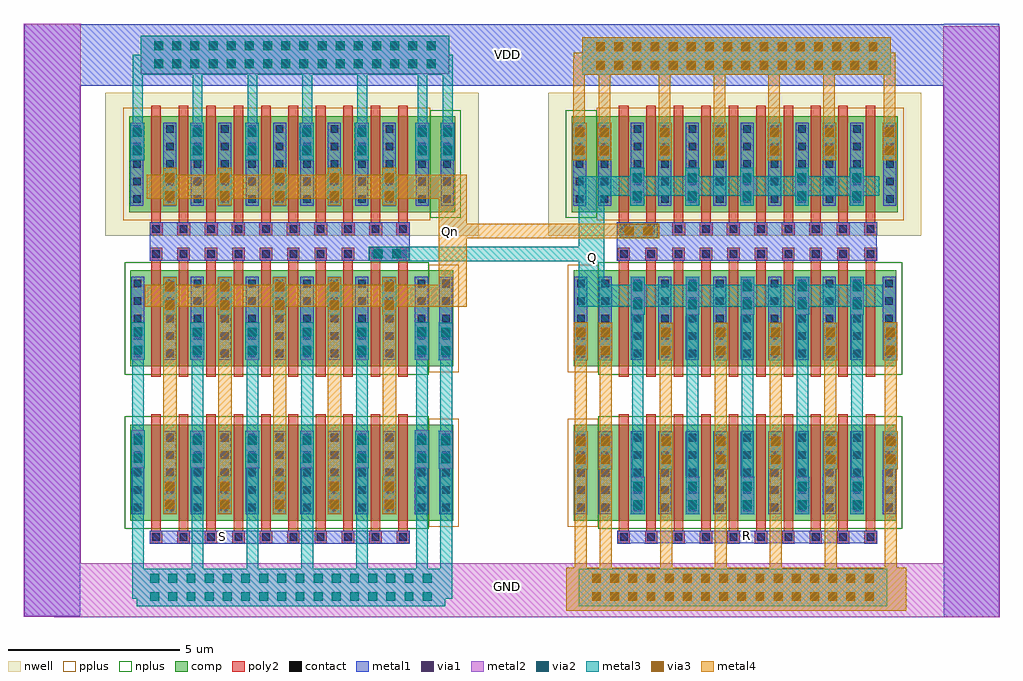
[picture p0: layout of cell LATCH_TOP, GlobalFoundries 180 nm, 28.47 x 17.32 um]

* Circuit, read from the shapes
.subckt LATCH_TOP GND Q Qn R S VDD
XM1 Qn S GND GND nfet_03v3 w=2.8u l=0.28u m=10
XM2 Qn Q GND GND nfet_03v3 w=2.8u l=0.28u m=10
XM3 Q R GND GND nfet_03v3 w=2.8u l=0.28u m=10
XM4 Q Qn GND GND nfet_03v3 w=2.8u l=0.28u m=10
XM5 Qn Q VDD VDD pfet_03v3 w=2.8u l=0.28u m=10
XM6 Q Qn VDD VDD pfet_03v3 w=2.8u l=0.28u m=10
.ends

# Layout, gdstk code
import gdstk
lib = gdstk.Library(unit=1e-6, precision=5e-09)
def R(c, l, rs):  # rectangles x0, y0, x1, y1
    for r in rs: c.add(gdstk.rectangle(r[:2], r[2:], *l))
def A(c, l, x, y, w, h, nx, ny, dx, dy):  # array of equal rectangles
    R(c, l, [(x+i*dx, y+j*dy, x+i*dx+w, y+j*dy+h) for i in range(nx) for j in range(ny)])
nwell = (21, 0)
comp = (22, 0)
poly2 = (30, 0)
pplus = (31, 0)
nplus = (32, 0)
contact = (33, 0)
metal1 = (34, 0)
via1 = (35, 0)
metal2 = (36, 0)
via2 = (38, 0)
via3 = (40, 0)
metal3 = (42, 0)
metal4 = (46, 0)

latch_top = lib.new_cell('LATCH_TOP')
R(latch_top, nwell, [(-13.65,3.81,-2.76,7.99), (-0.74,3.81,10.15,7.99)])
A(latch_top, comp, 1.14, -4.5, 7.86, 2.8, 1, 3, 0, 4.5)
R(latch_top, comp, [(-12.92,-4.5,-12.5,-1.7), (-12.5,-4.5,-4.64,-1.7), (-4.64,-4.5,-4.22,-1.7), (-4.22,-4.5,-3.51,-1.7), (0.01,-4.5,0.72,-1.7), (0.72,-4.5,1.14,-1.7), (9,-4.5,9.42,-1.7), (-12.92,0,-12.5,2.8), (-12.92,0,-12.5,2.8), (-12.5,0,-4.64,2.8), (-12.5,0,-4.64,2.8), (-4.64,0,-4.22,2.8), (-4.64,0,-4.22,2.8), (-4.22,0,-3.51,2.8), (-4.22,0,-3.51,2.8), (0.01,0,0.72,2.8), (0.72,0,1.14,2.8), (9,0,9.42,2.8), (-12.96,4.5,-12.5,7.3), (-12.5,4.5,-4.64,7.3), (-4.64,4.5,-4.18,7.3), (-4.18,4.5,-3.45,7.3), (-0.05,4.5,0.68,7.3), (0.68,4.5,1.14,7.3), (9,4.5,9.46,7.3)])
A(latch_top, poly2, -12.35, -5.16, 0.36, 0.36, 10, 1, 0.8, 0)
A(latch_top, poly2, 1.29, -5.16, 0.36, 0.36, 10, 2, 0.8, 8.26)
A(latch_top, poly2, -12.31, -4.8, 0.28, 3.4, 10, 2, 0.8, 9)
A(latch_top, poly2, 1.33, -4.8, 0.28, 3.4, 10, 3, 0.8, 4.5)
A(latch_top, poly2, -12.36, 3.82, 0.38, 0.38, 10, 1, 0.8, 0)
A(latch_top, poly2, 1.28, 3.82, 0.38, 0.38, 10, 1, 0.8, 0)
R(latch_top, poly2, [(-12.31,-0.3,-12.03,3.1), (-12.31,-0.3,-12.03,3.1), (-11.51,-0.3,-11.23,3.1), (-11.51,-0.3,-11.23,3.1), (-10.71,-0.3,-10.43,3.1), (-10.71,-0.3,-10.43,3.1), (-9.91,-0.3,-9.63,3.1), (-9.91,-0.3,-9.63,3.1), (-9.11,-0.3,-8.83,3.1), (-9.11,-0.3,-8.83,3.1), (-8.31,-0.3,-8.03,3.1), (-8.31,-0.3,-8.03,3.1), (-7.51,-0.3,-7.23,3.1), (-7.51,-0.3,-7.23,3.1), (-6.71,-0.3,-6.43,3.1), (-6.71,-0.3,-6.43,3.1), (-5.91,-0.3,-5.63,3.1), (-5.91,-0.3,-5.63,3.1), (-5.11,-0.3,-4.83,3.1), (-5.11,-0.3,-4.83,3.1), (-12.35,3.1,-11.99,3.46), (-12.35,3.1,-11.99,3.46), (-11.55,3.1,-11.19,3.46), (-11.55,3.1,-11.19,3.46), (-10.75,3.1,-10.39,3.46), (-10.75,3.1,-10.39,3.46), (-9.95,3.1,-9.59,3.46), (-9.95,3.1,-9.59,3.46), (-9.15,3.1,-8.79,3.46), (-9.15,3.1,-8.79,3.46), (-8.35,3.1,-7.99,3.46), (-8.35,3.1,-7.99,3.46), (-7.55,3.1,-7.19,3.46), (-7.55,3.1,-7.19,3.46), (-6.75,3.1,-6.39,3.46), (-6.75,3.1,-6.39,3.46), (-5.95,3.1,-5.59,3.46), (-5.95,3.1,-5.59,3.46), (-5.15,3.1,-4.79,3.46), (-5.15,3.1,-4.79,3.46)])
R(latch_top, pplus, [(-4.22,-4.67,-3.34,-1.53), (-0.16,-4.67,0.72,-1.53), (-4.22,-0.17,-3.34,2.97), (-4.22,-0.17,-3.34,2.97), (-0.16,-0.17,0.72,2.97), (-13.13,4.26,-4.18,7.54), (0.68,4.26,9.63,7.54)])
R(latch_top, nplus, [(-13.09,-4.74,-4.22,-1.46), (0.72,-4.74,9.59,-1.46), (-13.09,-0.24,-4.22,3.04), (-13.09,-0.24,-4.22,3.04), (0.72,-0.24,9.59,3.04), (-4.18,4.33,-3.28,7.47), (-0.22,4.33,0.68,7.47)])
A(latch_top, contact, -12.28, -5.09, 0.22, 0.22, 10, 2, 0.8, 8.99)
A(latch_top, contact, 1.36, -5.09, 0.22, 0.22, 10, 2, 0.8, 8.26)
A(latch_top, contact, -12.82, -4.23, 0.22, 0.22, 1, 5, 0, 0.51)
A(latch_top, contact, -11.88, -4.23, 0.22, 0.22, 9, 5, 0.8, 0.51)
A(latch_top, contact, -4.54, -4.23, 0.22, 0.22, 1, 5, 0, 0.51)
A(latch_top, contact, -3.83, -4.23, 0.22, 0.22, 1, 5, 0, 0.51)
A(latch_top, contact, 0.11, -4.23, 0.22, 0.22, 1, 5, 0, 0.51)
A(latch_top, contact, 0.82, -4.23, 0.22, 0.22, 1, 5, 0, 0.51)
A(latch_top, contact, 1.76, -4.23, 0.22, 0.22, 9, 5, 0.8, 0.51)
A(latch_top, contact, 9.1, -4.23, 0.22, 0.22, 1, 5, 0, 0.51)
A(latch_top, contact, 0.11, 0.27, 0.22, 0.22, 1, 5, 0, 0.51)
A(latch_top, contact, 0.82, 0.27, 0.22, 0.22, 1, 5, 0, 0.51)
A(latch_top, contact, 1.76, 0.27, 0.22, 0.22, 9, 5, 0.8, 0.51)
A(latch_top, contact, 9.1, 0.27, 0.22, 0.22, 1, 5, 0, 0.51)
A(latch_top, contact, 1.36, 3.9, 0.22, 0.22, 10, 1, 0.8, 0)
A(latch_top, contact, -12.84, 4.77, 0.22, 0.22, 1, 5, 0, 0.51)
A(latch_top, contact, -11.88, 4.77, 0.22, 0.22, 9, 5, 0.8, 0.51)
A(latch_top, contact, -4.52, 4.77, 0.22, 0.22, 1, 5, 0, 0.51)
A(latch_top, contact, -3.79, 4.77, 0.22, 0.22, 1, 5, 0, 0.51)
A(latch_top, contact, 0.07, 4.77, 0.22, 0.22, 1, 5, 0, 0.51)
A(latch_top, contact, 0.8, 4.77, 0.22, 0.22, 1, 5, 0, 0.51)
A(latch_top, contact, 1.76, 4.77, 0.22, 0.22, 9, 5, 0.8, 0.51)
A(latch_top, contact, 9.12, 4.77, 0.22, 0.22, 1, 5, 0, 0.51)
R(latch_top, contact, [(-12.82,0.27,-12.6,0.49), (-12.82,0.27,-12.6,0.49), (-11.88,0.27,-11.66,0.49), (-11.88,0.27,-11.66,0.49), (-11.08,0.27,-10.86,0.49), (-11.08,0.27,-10.86,0.49), (-10.28,0.27,-10.06,0.49), (-10.28,0.27,-10.06,0.49), (-9.48,0.27,-9.26,0.49), (-9.48,0.27,-9.26,0.49), (-8.68,0.27,-8.46,0.49), (-8.68,0.27,-8.46,0.49), (-7.88,0.27,-7.66,0.49), (-7.88,0.27,-7.66,0.49), (-7.08,0.27,-6.86,0.49), (-7.08,0.27,-6.86,0.49), (-6.28,0.27,-6.06,0.49), (-6.28,0.27,-6.06,0.49), (-5.48,0.27,-5.26,0.49), (-5.48,0.27,-5.26,0.49), (-4.54,0.27,-4.32,0.49), (-4.54,0.27,-4.32,0.49), (-3.83,0.27,-3.61,0.49), (-3.83,0.27,-3.61,0.49), (-12.82,0.78,-12.6,1), (-12.82,0.78,-12.6,1), (-11.88,0.78,-11.66,1), (-11.88,0.78,-11.66,1), (-11.08,0.78,-10.86,1), (-11.08,0.78,-10.86,1), (-10.28,0.78,-10.06,1), (-10.28,0.78,-10.06,1), (-9.48,0.78,-9.26,1), (-9.48,0.78,-9.26,1), (-8.68,0.78,-8.46,1), (-8.68,0.78,-8.46,1), (-7.88,0.78,-7.66,1), (-7.88,0.78,-7.66,1), (-7.08,0.78,-6.86,1), (-7.08,0.78,-6.86,1), (-6.28,0.78,-6.06,1), (-6.28,0.78,-6.06,1), (-5.48,0.78,-5.26,1), (-5.48,0.78,-5.26,1), (-4.54,0.78,-4.32,1), (-4.54,0.78,-4.32,1), (-3.83,0.78,-3.61,1), (-3.83,0.78,-3.61,1), (-12.82,1.29,-12.6,1.51), (-12.82,1.29,-12.6,1.51), (-11.88,1.29,-11.66,1.51), (-11.88,1.29,-11.66,1.51), (-11.08,1.29,-10.86,1.51), (-11.08,1.29,-10.86,1.51), (-10.28,1.29,-10.06,1.51), (-10.28,1.29,-10.06,1.51), (-9.48,1.29,-9.26,1.51), (-9.48,1.29,-9.26,1.51), (-8.68,1.29,-8.46,1.51), (-8.68,1.29,-8.46,1.51), (-7.88,1.29,-7.66,1.51), (-7.88,1.29,-7.66,1.51), (-7.08,1.29,-6.86,1.51), (-7.08,1.29,-6.86,1.51), (-6.28,1.29,-6.06,1.51), (-6.28,1.29,-6.06,1.51), (-5.48,1.29,-5.26,1.51), (-5.48,1.29,-5.26,1.51), (-4.54,1.29,-4.32,1.51), (-4.54,1.29,-4.32,1.51), (-3.83,1.29,-3.61,1.51), (-3.83,1.29,-3.61,1.51), (-12.82,1.8,-12.6,2.02), (-12.82,1.8,-12.6,2.02), (-11.88,1.8,-11.66,2.02), (-11.88,1.8,-11.66,2.02), (-11.08,1.8,-10.86,2.02), (-11.08,1.8,-10.86,2.02), (-10.28,1.8,-10.06,2.02), (-10.28,1.8,-10.06,2.02), (-9.48,1.8,-9.26,2.02), (-9.48,1.8,-9.26,2.02), (-8.68,1.8,-8.46,2.02), (-8.68,1.8,-8.46,2.02), (-7.88,1.8,-7.66,2.02), (-7.88,1.8,-7.66,2.02), (-7.08,1.8,-6.86,2.02), (-7.08,1.8,-6.86,2.02), (-6.28,1.8,-6.06,2.02), (-6.28,1.8,-6.06,2.02), (-5.48,1.8,-5.26,2.02), (-5.48,1.8,-5.26,2.02), (-4.54,1.8,-4.32,2.02), (-4.54,1.8,-4.32,2.02), (-3.83,1.8,-3.61,2.02), (-3.83,1.8,-3.61,2.02), (-12.82,2.31,-12.6,2.53), (-12.82,2.31,-12.6,2.53), (-11.88,2.31,-11.66,2.53), (-11.88,2.31,-11.66,2.53), (-11.08,2.31,-10.86,2.53), (-11.08,2.31,-10.86,2.53), (-10.28,2.31,-10.06,2.53), (-10.28,2.31,-10.06,2.53), (-9.48,2.31,-9.26,2.53), (-9.48,2.31,-9.26,2.53), (-8.68,2.31,-8.46,2.53), (-8.68,2.31,-8.46,2.53), (-7.88,2.31,-7.66,2.53), (-7.88,2.31,-7.66,2.53), (-7.08,2.31,-6.86,2.53), (-7.08,2.31,-6.86,2.53), (-6.28,2.31,-6.06,2.53), (-6.28,2.31,-6.06,2.53), (-5.48,2.31,-5.26,2.53), (-5.48,2.31,-5.26,2.53), (-4.54,2.31,-4.32,2.53), (-4.54,2.31,-4.32,2.53), (-3.83,2.31,-3.61,2.53), (-3.83,2.31,-3.61,2.53), (-12.28,3.17,-12.06,3.39), (-12.28,3.17,-12.06,3.39), (-11.48,3.17,-11.26,3.39), (-11.48,3.17,-11.26,3.39), (-10.68,3.17,-10.46,3.39), (-10.68,3.17,-10.46,3.39), (-9.88,3.17,-9.66,3.39), (-9.88,3.17,-9.66,3.39), (-9.08,3.17,-8.86,3.39), (-9.08,3.17,-8.86,3.39), (-8.28,3.17,-8.06,3.39), (-8.28,3.17,-8.06,3.39), (-7.48,3.17,-7.26,3.39), (-7.48,3.17,-7.26,3.39), (-6.68,3.17,-6.46,3.39), (-6.68,3.17,-6.46,3.39), (-5.88,3.17,-5.66,3.39), (-5.88,3.17,-5.66,3.39), (-5.08,3.17,-4.86,3.39), (-5.08,3.17,-4.86,3.39)])
A(latch_top, metal1, -12.36, -5.17, 0.38, 0.38, 10, 2, 0.8, 8.99)
A(latch_top, metal1, 1.28, -5.17, 0.38, 0.38, 10, 2, 0.8, 8.26)
A(latch_top, metal1, 1.675, -4.315, 0.4, 1.1, 5, 2, 1.6, 5.825)
A(latch_top, metal1, -11.96, -4.31, 0.38, 2.42, 9, 2, 0.8, 9)
A(latch_top, metal1, 1.68, -4.31, 0.38, 2.42, 9, 3, 0.8, 4.5)
A(latch_top, metal1, -11.97, -4.305, 0.4, 1.1, 5, 2, 1.6, 9)
A(latch_top, metal1, 2.505, -3, 0.4, 1.1, 4, 1, 1.6, 0)
A(latch_top, metal1, -11.17, -2.97, 0.4, 1.1, 4, 1, 1.6, 0)
A(latch_top, metal1, 2.5, 0.18, 0.4, 1.1, 4, 1, 1.6, 0)
A(latch_top, metal1, 1.28, 3.82, 0.38, 0.38, 10, 1, 0.8, 0)
A(latch_top, metal1, 1.665, 4.69, 0.4, 1.1, 5, 1, 1.6, 0)
A(latch_top, metal1, -11.175, 6.01, 0.4, 1.1, 4, 1, 1.6, 0)
A(latch_top, metal1, 2.47, 6.01, 0.4, 1.1, 4, 1, 1.6, 0)
R(latch_top, metal1, [(10.81,-7.32,12.42,9.99), (-16.015,-7.285,-14.39,9.995), (-12.36,-5.175,-4.775,-4.79), (1.28,-5.155,8.85,-4.79), (-12.9,-4.31,-12.52,-1.89), (-4.62,-4.31,-4.24,-1.89), (-3.91,-4.31,-3.53,-1.89), (0.03,-4.31,0.41,-1.89), (0.74,-4.31,1.12,-1.89), (9.02,-4.31,9.4,-1.89), (0.74,-3,1.14,-1.9), (0.02,-2.995,0.42,-1.895), (9.055,-2.995,9.455,-1.895), (-3.92,-2.98,-3.52,-1.88), (-12.9,-2.965,-12.5,-1.865), (-4.62,-2.965,-4.22,-1.865), (-3.92,0.18,-3.52,1.28), (-3.92,0.18,-3.52,1.28), (0.735,0.18,1.135,1.28), (0.015,0.185,0.415,1.285), (9.05,0.185,9.45,1.285), (-12.9,0.19,-12.52,2.61), (-12.9,0.19,-12.52,2.61), (-11.96,0.19,-11.58,2.61), (-11.96,0.19,-11.58,2.61), (-11.17,0.19,-10.77,1.29), (-11.17,0.19,-10.77,1.29), (-11.16,0.19,-10.78,2.61), (-11.16,0.19,-10.78,2.61), (-10.36,0.19,-9.98,2.61), (-10.36,0.19,-9.98,2.61), (-9.57,0.19,-9.17,1.29), (-9.57,0.19,-9.17,1.29), (-9.56,0.19,-9.18,2.61), (-9.56,0.19,-9.18,2.61), (-8.76,0.19,-8.38,2.61), (-8.76,0.19,-8.38,2.61), (-7.97,0.19,-7.57,1.29), (-7.97,0.19,-7.57,1.29), (-7.96,0.19,-7.58,2.61), (-7.96,0.19,-7.58,2.61), (-7.16,0.19,-6.78,2.61), (-7.16,0.19,-6.78,2.61), (-6.37,0.19,-5.97,1.29), (-6.37,0.19,-5.97,1.29), (-6.36,0.19,-5.98,2.61), (-6.36,0.19,-5.98,2.61), (-5.56,0.19,-5.18,2.61), (-5.56,0.19,-5.18,2.61), (-4.62,0.19,-4.24,2.61), (-4.62,0.19,-4.24,2.61), (-3.91,0.19,-3.53,2.61), (-3.91,0.19,-3.53,2.61), (0.03,0.19,0.41,2.61), (0.74,0.19,1.12,2.61), (9.02,0.19,9.4,2.61), (-12.9,0.195,-12.5,1.295), (-4.62,0.195,-4.22,1.295), (-4.62,0.195,-4.22,1.295), (-11.97,1.505,-11.57,2.605), (-11.97,1.505,-11.57,2.605), (-10.37,1.505,-9.97,2.605), (-10.37,1.505,-9.97,2.605), (-8.77,1.505,-8.37,2.605), (-8.77,1.505,-8.37,2.605), (-7.17,1.505,-6.77,2.605), (-7.17,1.505,-6.77,2.605), (-5.57,1.505,-5.17,2.605), (-5.57,1.505,-5.17,2.605), (-5.975,3.085,-4.875,3.485), (-12.36,3.09,-11.98,3.47), (-12.36,3.09,-11.98,3.47), (-12.36,3.09,-4.78,4.2), (-12.36,3.09,-4.78,4.2), (-11.56,3.09,-11.18,3.47), (-11.56,3.09,-11.18,3.47), (-10.76,3.09,-10.38,3.47), (-10.76,3.09,-10.38,3.47), (-9.96,3.09,-9.58,3.47), (-9.96,3.09,-9.58,3.47), (-9.16,3.09,-8.78,3.47), (-9.16,3.09,-8.78,3.47), (-8.36,3.09,-7.98,3.47), (-8.36,3.09,-7.98,3.47), (-7.56,3.09,-7.18,3.47), (-7.56,3.09,-7.18,3.47), (-6.76,3.09,-6.38,3.47), (-6.76,3.09,-6.38,3.47), (-5.96,3.09,-5.58,3.47), (-5.96,3.09,-5.58,3.47), (-5.16,3.09,-4.78,3.47), (-5.16,3.09,-4.78,3.47), (1.27,3.09,8.85,4.2), (1.35,3.75,2.45,4.15), (-12.92,4.69,-12.54,7.11), (-4.6,4.69,-4.22,7.11), (-3.87,4.69,-3.49,7.11), (-0.01,4.69,0.37,7.11), (0.72,4.69,1.1,7.11), (9.04,4.69,9.42,7.11), (-12.92,6.01,-12.52,7.11), (-4.61,6.01,-4.21,7.11), (-3.87,6.01,-3.47,7.11), (0.705,6.01,1.105,7.11), (-0.015,6.015,0.385,7.115), (9.02,6.015,9.42,7.115), (-15.205,8.19,11.695,9.985), (0.265,8.505,9.265,9.605), (-12.625,8.545,-3.625,9.645)])
A(latch_top, via1, 1.745, -4.16, 0.26, 0.26, 5, 2, 1.6, 0.53)
A(latch_top, via1, -11.9, -4.15, 0.26, 0.26, 5, 2, 1.6, 0.53)
A(latch_top, via1, 2.575, -2.845, 0.26, 0.26, 4, 2, 1.6, 0.53)
A(latch_top, via1, -11.1, -2.815, 0.26, 0.26, 4, 2, 1.6, 0.53)
A(latch_top, via1, 2.57, 0.335, 0.26, 0.26, 4, 2, 1.6, 0.53)
A(latch_top, via1, 1.745, 1.665, 0.26, 0.26, 5, 2, 1.6, 0.53)
A(latch_top, via1, 1.735, 4.845, 0.26, 0.26, 5, 2, 1.6, 0.53)
A(latch_top, via1, -11.9, 4.85, 0.26, 0.26, 5, 2, 1.6, 0.53)
A(latch_top, via1, -11.105, 6.165, 0.26, 0.26, 4, 2, 1.6, 0.53)
A(latch_top, via1, 2.54, 6.165, 0.26, 0.26, 4, 2, 1.6, 0.53)
A(latch_top, via1, 0.66, 8.66, 0.26, 0.26, 16, 2, 0.53, 0.53)
A(latch_top, via1, -12.23, 8.7, 0.26, 0.26, 16, 2, 0.53, 0.53)
R(latch_top, via1, [(0.81,-2.845,1.07,-2.585), (0.09,-2.84,0.35,-2.58), (9.125,-2.84,9.385,-2.58), (-3.85,-2.825,-3.59,-2.565), (-12.83,-2.81,-12.57,-2.55), (-4.55,-2.81,-4.29,-2.55), (0.81,-2.315,1.07,-2.055), (0.09,-2.31,0.35,-2.05), (9.125,-2.31,9.385,-2.05), (-3.85,-2.295,-3.59,-2.035), (-12.83,-2.28,-12.57,-2.02), (-4.55,-2.28,-4.29,-2.02), (-3.85,0.335,-3.59,0.595), (-3.85,0.335,-3.59,0.595), (0.805,0.335,1.065,0.595), (0.085,0.34,0.345,0.6), (9.12,0.34,9.38,0.6), (-11.1,0.345,-10.84,0.605), (-11.1,0.345,-10.84,0.605), (-9.5,0.345,-9.24,0.605), (-9.5,0.345,-9.24,0.605), (-7.9,0.345,-7.64,0.605), (-7.9,0.345,-7.64,0.605), (-6.3,0.345,-6.04,0.605), (-6.3,0.345,-6.04,0.605), (-12.83,0.35,-12.57,0.61), (-4.55,0.35,-4.29,0.61), (-4.55,0.35,-4.29,0.61), (-3.85,0.865,-3.59,1.125), (-3.85,0.865,-3.59,1.125), (0.805,0.865,1.065,1.125), (0.085,0.87,0.345,1.13), (9.12,0.87,9.38,1.13), (-11.1,0.875,-10.84,1.135), (-11.1,0.875,-10.84,1.135), (-9.5,0.875,-9.24,1.135), (-9.5,0.875,-9.24,1.135), (-7.9,0.875,-7.64,1.135), (-7.9,0.875,-7.64,1.135), (-6.3,0.875,-6.04,1.135), (-6.3,0.875,-6.04,1.135), (-12.83,0.88,-12.57,1.14), (-4.55,0.88,-4.29,1.14), (-4.55,0.88,-4.29,1.14), (-11.9,1.66,-11.64,1.92), (-11.9,1.66,-11.64,1.92), (-10.3,1.66,-10.04,1.92), (-10.3,1.66,-10.04,1.92), (-8.7,1.66,-8.44,1.92), (-8.7,1.66,-8.44,1.92), (-7.1,1.66,-6.84,1.92), (-7.1,1.66,-6.84,1.92), (-5.5,1.66,-5.24,1.92), (-5.5,1.66,-5.24,1.92), (-11.9,2.19,-11.64,2.45), (-11.9,2.19,-11.64,2.45), (-10.3,2.19,-10.04,2.45), (-10.3,2.19,-10.04,2.45), (-8.7,2.19,-8.44,2.45), (-8.7,2.19,-8.44,2.45), (-7.1,2.19,-6.84,2.45), (-7.1,2.19,-6.84,2.45), (-5.5,2.19,-5.24,2.45), (-5.5,2.19,-5.24,2.45), (-5.82,3.155,-5.56,3.415), (-5.29,3.155,-5.03,3.415), (1.505,3.82,1.765,4.08), (2.035,3.82,2.295,4.08), (-12.85,6.165,-12.59,6.425), (-4.54,6.165,-4.28,6.425), (-3.8,6.165,-3.54,6.425), (0.775,6.165,1.035,6.425), (0.055,6.17,0.315,6.43), (9.09,6.17,9.35,6.43), (-12.85,6.695,-12.59,6.955), (-4.54,6.695,-4.28,6.955), (-3.8,6.695,-3.54,6.955), (0.775,6.695,1.035,6.955), (0.055,6.7,0.315,6.96), (9.09,6.7,9.35,6.96)])
A(latch_top, metal2, 1.675, -4.315, 0.4, 1.1, 5, 2, 1.6, 5.825)
A(latch_top, metal2, -11.97, -4.305, 0.4, 1.1, 5, 2, 1.6, 9)
A(latch_top, metal2, 2.505, -3, 0.4, 1.1, 4, 1, 1.6, 0)
A(latch_top, metal2, -11.17, -2.97, 0.4, 1.1, 4, 1, 1.6, 0)
A(latch_top, metal2, 2.5, 0.18, 0.4, 1.1, 4, 1, 1.6, 0)
A(latch_top, metal2, 1.665, 4.69, 0.4, 1.1, 5, 1, 1.6, 0)
A(latch_top, metal2, -11.175, 6.01, 0.4, 1.1, 4, 1, 1.6, 0)
A(latch_top, metal2, 2.47, 6.01, 0.4, 1.1, 4, 1, 1.6, 0)
R(latch_top, metal2, [(-15.145,-7.31,11.645,-5.745), (10.795,-7.31,12.43,9.92), (-16.04,-7.295,-14.375,10), (-12.74,-6.995,-3.74,-5.895), (0.15,-6.995,9.15,-5.895), (0.74,-3,1.14,-1.9), (0.02,-2.995,0.42,-1.895), (9.055,-2.995,9.455,-1.895), (-3.92,-2.98,-3.52,-1.88), (-12.9,-2.965,-12.5,-1.865), (-4.62,-2.965,-4.22,-1.865), (-3.92,0.18,-3.52,1.28), (-3.92,0.18,-3.52,1.28), (0.735,0.18,1.135,1.28), (0.015,0.185,0.415,1.285), (9.05,0.185,9.45,1.285), (-11.17,0.19,-10.77,1.29), (-11.17,0.19,-10.77,1.29), (-9.57,0.19,-9.17,1.29), (-9.57,0.19,-9.17,1.29), (-7.97,0.19,-7.57,1.29), (-7.97,0.19,-7.57,1.29), (-6.37,0.19,-5.97,1.29), (-6.37,0.19,-5.97,1.29), (-12.9,0.195,-12.5,1.295), (-4.62,0.195,-4.22,1.295), (-4.62,0.195,-4.22,1.295), (-11.97,1.505,-11.57,2.605), (-11.97,1.505,-11.57,2.605), (-10.37,1.505,-9.97,2.605), (-10.37,1.505,-9.97,2.605), (-8.77,1.505,-8.37,2.605), (-8.77,1.505,-8.37,2.605), (-7.17,1.505,-6.77,2.605), (-7.17,1.505,-6.77,2.605), (-5.57,1.505,-5.17,2.605), (-5.57,1.505,-5.17,2.605), (-5.975,3.085,-4.875,3.485), (1.35,3.75,2.45,4.15), (-12.92,6.01,-12.52,7.11), (-4.61,6.01,-4.21,7.11), (-3.87,6.01,-3.47,7.11), (0.705,6.01,1.105,7.11), (-0.015,6.015,0.385,7.115), (9.02,6.015,9.42,7.115), (0.265,8.505,9.265,9.605), (-12.625,8.545,-3.625,9.645)])
A(latch_top, via2, -12.345, -6.84, 0.26, 0.26, 16, 2, 0.53, 0.53)
A(latch_top, via2, 0.545, -6.84, 0.26, 0.26, 16, 2, 0.53, 0.53)
A(latch_top, via2, 1.745, -4.16, 0.26, 0.26, 5, 2, 1.6, 0.53)
A(latch_top, via2, -11.9, -4.15, 0.26, 0.26, 5, 2, 1.6, 0.53)
A(latch_top, via2, 2.575, -2.845, 0.26, 0.26, 4, 2, 1.6, 0.53)
A(latch_top, via2, -11.1, -2.815, 0.26, 0.26, 4, 2, 1.6, 0.53)
A(latch_top, via2, 2.57, 0.335, 0.26, 0.26, 4, 2, 1.6, 0.53)
A(latch_top, via2, 1.745, 1.665, 0.26, 0.26, 5, 2, 1.6, 0.53)
A(latch_top, via2, 1.735, 4.845, 0.26, 0.26, 5, 2, 1.6, 0.53)
A(latch_top, via2, -11.9, 4.85, 0.26, 0.26, 5, 2, 1.6, 0.53)
A(latch_top, via2, -11.105, 6.165, 0.26, 0.26, 4, 2, 1.6, 0.53)
A(latch_top, via2, 2.54, 6.165, 0.26, 0.26, 4, 2, 1.6, 0.53)
A(latch_top, via2, 0.66, 8.66, 0.26, 0.26, 16, 2, 0.53, 0.53)
A(latch_top, via2, -12.23, 8.7, 0.26, 0.26, 16, 2, 0.53, 0.53)
R(latch_top, via2, [(0.81,-2.845,1.07,-2.585), (0.09,-2.84,0.35,-2.58), (9.125,-2.84,9.385,-2.58), (-3.85,-2.825,-3.59,-2.565), (-12.83,-2.81,-12.57,-2.55), (-4.55,-2.81,-4.29,-2.55), (0.81,-2.315,1.07,-2.055), (0.09,-2.31,0.35,-2.05), (9.125,-2.31,9.385,-2.05), (-3.85,-2.295,-3.59,-2.035), (-12.83,-2.28,-12.57,-2.02), (-4.55,-2.28,-4.29,-2.02), (-3.85,0.335,-3.59,0.595), (-3.85,0.335,-3.59,0.595), (0.805,0.335,1.065,0.595), (0.085,0.34,0.345,0.6), (9.12,0.34,9.38,0.6), (-11.1,0.345,-10.84,0.605), (-11.1,0.345,-10.84,0.605), (-9.5,0.345,-9.24,0.605), (-9.5,0.345,-9.24,0.605), (-7.9,0.345,-7.64,0.605), (-7.9,0.345,-7.64,0.605), (-6.3,0.345,-6.04,0.605), (-6.3,0.345,-6.04,0.605), (-12.83,0.35,-12.57,0.61), (-4.55,0.35,-4.29,0.61), (-4.55,0.35,-4.29,0.61), (-3.85,0.865,-3.59,1.125), (-3.85,0.865,-3.59,1.125), (0.805,0.865,1.065,1.125), (0.085,0.87,0.345,1.13), (9.12,0.87,9.38,1.13), (-11.1,0.875,-10.84,1.135), (-11.1,0.875,-10.84,1.135), (-9.5,0.875,-9.24,1.135), (-9.5,0.875,-9.24,1.135), (-7.9,0.875,-7.64,1.135), (-7.9,0.875,-7.64,1.135), (-6.3,0.875,-6.04,1.135), (-6.3,0.875,-6.04,1.135), (-12.83,0.88,-12.57,1.14), (-4.55,0.88,-4.29,1.14), (-4.55,0.88,-4.29,1.14), (-11.9,1.66,-11.64,1.92), (-11.9,1.66,-11.64,1.92), (-10.3,1.66,-10.04,1.92), (-10.3,1.66,-10.04,1.92), (-8.7,1.66,-8.44,1.92), (-8.7,1.66,-8.44,1.92), (-7.1,1.66,-6.84,1.92), (-7.1,1.66,-6.84,1.92), (-5.5,1.66,-5.24,1.92), (-5.5,1.66,-5.24,1.92), (-11.9,2.19,-11.64,2.45), (-11.9,2.19,-11.64,2.45), (-10.3,2.19,-10.04,2.45), (-10.3,2.19,-10.04,2.45), (-8.7,2.19,-8.44,2.45), (-8.7,2.19,-8.44,2.45), (-7.1,2.19,-6.84,2.45), (-7.1,2.19,-6.84,2.45), (-5.5,2.19,-5.24,2.45), (-5.5,2.19,-5.24,2.45), (-5.82,3.155,-5.56,3.415), (-5.29,3.155,-5.03,3.415), (1.505,3.82,1.765,4.08), (2.035,3.82,2.295,4.08), (-12.85,6.165,-12.59,6.425), (-4.54,6.165,-4.28,6.425), (-3.8,6.165,-3.54,6.425), (0.775,6.165,1.035,6.425), (0.055,6.17,0.315,6.43), (9.09,6.17,9.35,6.43), (-12.85,6.695,-12.59,6.955), (-4.54,6.695,-4.28,6.955), (-3.8,6.695,-3.54,6.955), (0.775,6.695,1.035,6.955), (0.055,6.7,0.315,6.96), (9.09,6.7,9.35,6.96)])
A(latch_top, via3, 0.545, -6.84, 0.26, 0.26, 16, 2, 0.53, 0.53)
A(latch_top, via3, -11.9, -4.15, 0.26, 0.26, 5, 2, 1.6, 0.53)
A(latch_top, via3, 2.575, -2.845, 0.26, 0.26, 4, 2, 1.6, 0.53)
A(latch_top, via3, 2.57, 0.335, 0.26, 0.26, 4, 2, 1.6, 0.53)
A(latch_top, via3, -11.9, 4.85, 0.26, 0.26, 5, 2, 1.6, 0.53)
A(latch_top, via3, 2.54, 6.165, 0.26, 0.26, 4, 2, 1.6, 0.53)
A(latch_top, via3, 0.66, 8.66, 0.26, 0.26, 16, 2, 0.53, 0.53)
R(latch_top, via3, [(0.81,-2.845,1.07,-2.585), (0.09,-2.84,0.35,-2.58), (9.125,-2.84,9.385,-2.58), (0.81,-2.315,1.07,-2.055), (0.09,-2.31,0.35,-2.05), (9.125,-2.31,9.385,-2.05), (0.805,0.335,1.065,0.595), (0.085,0.34,0.345,0.6), (9.12,0.34,9.38,0.6), (0.805,0.865,1.065,1.125), (0.085,0.87,0.345,1.13), (9.12,0.87,9.38,1.13), (-11.9,1.66,-11.64,1.92), (-11.9,1.66,-11.64,1.92), (-10.3,1.66,-10.04,1.92), (-10.3,1.66,-10.04,1.92), (-8.7,1.66,-8.44,1.92), (-8.7,1.66,-8.44,1.92), (-7.1,1.66,-6.84,1.92), (-7.1,1.66,-6.84,1.92), (-5.5,1.66,-5.24,1.92), (-5.5,1.66,-5.24,1.92), (-11.9,2.19,-11.64,2.45), (-11.9,2.19,-11.64,2.45), (-10.3,2.19,-10.04,2.45), (-10.3,2.19,-10.04,2.45), (-8.7,2.19,-8.44,2.45), (-8.7,2.19,-8.44,2.45), (-7.1,2.19,-6.84,2.45), (-7.1,2.19,-6.84,2.45), (-5.5,2.19,-5.24,2.45), (-5.5,2.19,-5.24,2.45), (1.505,3.82,1.765,4.08), (2.035,3.82,2.295,4.08), (0.775,6.165,1.035,6.425), (0.055,6.17,0.315,6.43), (9.09,6.17,9.35,6.43), (0.775,6.695,1.035,6.955), (0.055,6.7,0.315,6.96), (9.09,6.7,9.35,6.96)])
A(latch_top, metal3, 1.675, -4.315, 0.4, 1.1, 5, 2, 1.6, 5.825)
A(latch_top, metal3, -11.97, -4.305, 0.4, 1.1, 5, 2, 1.6, 9)
A(latch_top, metal3, 1.71, -4.305, 0.335, 6.695, 5, 1, 1.6, 0)
A(latch_top, metal3, -11.135, -3.11, 0.34, 4.39, 4, 1, 1.6, 0)
A(latch_top, metal3, 2.505, -3, 0.4, 1.1, 4, 1, 1.6, 0)
A(latch_top, metal3, -11.17, -2.97, 0.4, 1.1, 4, 1, 1.6, 0)
A(latch_top, metal3, 2.5, 0.18, 0.4, 1.1, 4, 1, 1.6, 0)
A(latch_top, metal3, 1.665, 4.69, 0.4, 1.1, 5, 1, 1.6, 0)
A(latch_top, metal3, -11.175, 6.01, 0.4, 1.1, 4, 1, 1.6, 0)
A(latch_top, metal3, 2.47, 6.01, 0.4, 1.1, 4, 1, 1.6, 0)
A(latch_top, metal3, -11.105, 6.055, 0.285, 2.87, 4, 1, 1.6, 0)
R(latch_top, metal3, [(-12.74,-6.995,-3.74,-5.895), (0.15,-6.995,9.15,-5.895), (-12.875,-6.775,-3.54,-5.995), (-12.875,-6.775,-3.54,-5.995), (-3.88,-6.27,-3.54,-1.88), (-3.88,-6.27,-3.54,-1.88), (-12.875,-6.26,-12.535,-1.87), (-12.875,-6.26,-12.535,-1.87), (-11.135,-6.26,-10.795,-1.87), (-11.135,-6.26,-10.795,-1.87), (-9.535,-6.26,-9.195,-1.87), (-9.535,-6.26,-9.195,-1.87), (-7.935,-6.26,-7.595,-1.87), (-7.935,-6.26,-7.595,-1.87), (-6.335,-6.26,-5.995,-1.87), (-6.335,-6.26,-5.995,-1.87), (-4.59,-6.26,-4.25,-1.87), (-4.59,-6.26,-4.25,-1.87), (-3.88,-3.12,-3.54,1.27), (-12.875,-3.11,-12.535,1.28), (-4.59,-3.11,-4.25,1.28), (0.74,-3,1.14,-1.9), (0.02,-2.995,0.42,-1.895), (9.055,-2.995,9.455,-1.895), (-3.92,-2.98,-3.52,-1.88), (-12.9,-2.965,-12.5,-1.865), (-4.62,-2.965,-4.22,-1.865), (-3.92,0.18,-3.52,1.28), (-3.92,0.18,-3.52,1.28), (0.735,0.18,1.135,1.28), (0.015,0.185,0.415,1.285), (9.05,0.185,9.45,1.285), (-11.17,0.19,-10.77,1.29), (-11.17,0.19,-10.77,1.29), (-9.57,0.19,-9.17,1.29), (-9.57,0.19,-9.17,1.29), (-7.97,0.19,-7.57,1.29), (-7.97,0.19,-7.57,1.29), (-6.37,0.19,-5.97,1.29), (-6.37,0.19,-5.97,1.29), (-12.9,0.195,-12.5,1.295), (-4.62,0.195,-4.22,1.295), (-4.62,0.195,-4.22,1.295), (-11.97,1.505,-11.57,2.605), (-11.97,1.505,-11.57,2.605), (-10.37,1.505,-9.97,2.605), (-10.37,1.505,-9.97,2.605), (-8.77,1.505,-8.37,2.605), (-8.77,1.505,-8.37,2.605), (-7.17,1.505,-6.77,2.605), (-7.17,1.505,-6.77,2.605), (-5.57,1.505,-5.17,2.605), (-5.57,1.505,-5.17,2.605), (0.155,1.745,0.895,5.55), (0.895,1.745,9.02,2.39), (-5.925,3.065,0.905,3.485), (-5.975,3.085,-4.875,3.485), (1.35,3.75,2.45,4.15), (0.83,4.985,8.92,5.55), (-12.92,6.01,-12.52,7.11), (-4.61,6.01,-4.21,7.11), (-3.87,6.01,-3.47,7.11), (0.705,6.01,1.105,7.11), (-3.805,6.015,-3.52,8.885), (-0.015,6.015,0.385,7.115), (9.02,6.015,9.42,7.115), (-12.85,6.025,-12.565,8.895), (-4.545,6.025,-4.26,8.895), (-12.85,8.505,-3.52,9.095), (0.265,8.505,9.265,9.605), (-12.625,8.545,-3.625,9.645)])
A(latch_top, metal4, 2.53, -6.31, 0.35, 4.41, 4, 1, 1.6, 0)
A(latch_top, metal4, -11.97, -4.305, 0.4, 1.1, 5, 2, 1.6, 9)
A(latch_top, metal4, 2.525, -3.15, 0.35, 4.41, 4, 1, 1.6, 0)
A(latch_top, metal4, 2.505, -3, 0.4, 1.1, 4, 1, 1.6, 0)
A(latch_top, metal4, 2.5, 0.18, 0.4, 1.1, 4, 1, 1.6, 0)
A(latch_top, metal4, 2.47, 6.01, 0.4, 1.1, 4, 1, 1.6, 0)
A(latch_top, metal4, 2.49, 6.025, 0.335, 2.95, 4, 1, 1.6, 0)
R(latch_top, metal4, [(-0.215,-7.125,9.705,-5.875), (0.15,-6.995,9.15,-5.895), (0.775,-6.315,1.125,-1.905), (9.09,-6.31,9.44,-1.9), (0.045,-6.3,0.395,-1.89), (-11.96,-4.305,-11.57,2.395), (-11.96,-4.305,-11.57,2.395), (-10.36,-4.305,-9.97,2.395), (-10.36,-4.305,-9.97,2.395), (-8.76,-4.305,-8.37,2.395), (-8.76,-4.305,-8.37,2.395), (-7.16,-4.305,-6.77,2.395), (-7.16,-4.305,-6.77,2.395), (-5.56,-4.305,-5.17,2.395), (-5.56,-4.305,-5.17,2.395), (0.77,-3.155,1.12,1.255), (0.04,-3.14,0.39,1.27), (9.085,-3.125,9.435,1.285), (0.74,-3,1.14,-1.9), (0.02,-2.995,0.42,-1.895), (9.055,-2.995,9.455,-1.895), (0.735,0.18,1.135,1.28), (0.015,0.185,0.415,1.285), (9.05,0.185,9.45,1.285), (-11.97,1.505,-11.57,2.605), (-11.97,1.505,-11.57,2.605), (-10.37,1.505,-9.97,2.605), (-10.37,1.505,-9.97,2.605), (-8.77,1.505,-8.37,2.605), (-8.77,1.505,-8.37,2.605), (-7.17,1.505,-6.77,2.605), (-7.17,1.505,-6.77,2.605), (-5.57,1.505,-5.17,2.605), (-5.57,1.505,-5.17,2.605), (-12.505,1.745,-3.465,2.38), (-12.505,1.745,-3.465,2.38), (-3.925,1.745,-3.115,5.595), (-3.925,3.74,2.51,4.16), (1.35,3.75,2.45,4.15), (-12.44,4.89,-3.465,5.595), (0.705,6.01,1.105,7.11), (-0.015,6.015,0.385,7.115), (0.745,6.015,1.08,8.965), (9.02,6.015,9.42,7.115), (0,6.025,0.335,8.975), (9.055,6.04,9.39,8.99), (0.265,8.505,9.265,9.605), (0.005,8.585,9.39,9.155)])
latch_top.add(gdstk.Label('VDD', (-1.925,9.105), layer=34, texttype=10))
latch_top.add(gdstk.Label('S', (-10.225,-4.975), layer=34, texttype=10))
latch_top.add(gdstk.Label('R', (5.055,-4.935), layer=34, texttype=10))
latch_top.add(gdstk.Label('Qn', (-3.585,3.94), layer=46, texttype=10))
latch_top.add(gdstk.Label('Q', (0.56,3.17), layer=42, texttype=10))
latch_top.add(gdstk.Label('GND', (-1.935,-6.42), layer=36, texttype=10))

lib.write_gds('LATCH_TOP.gds')
